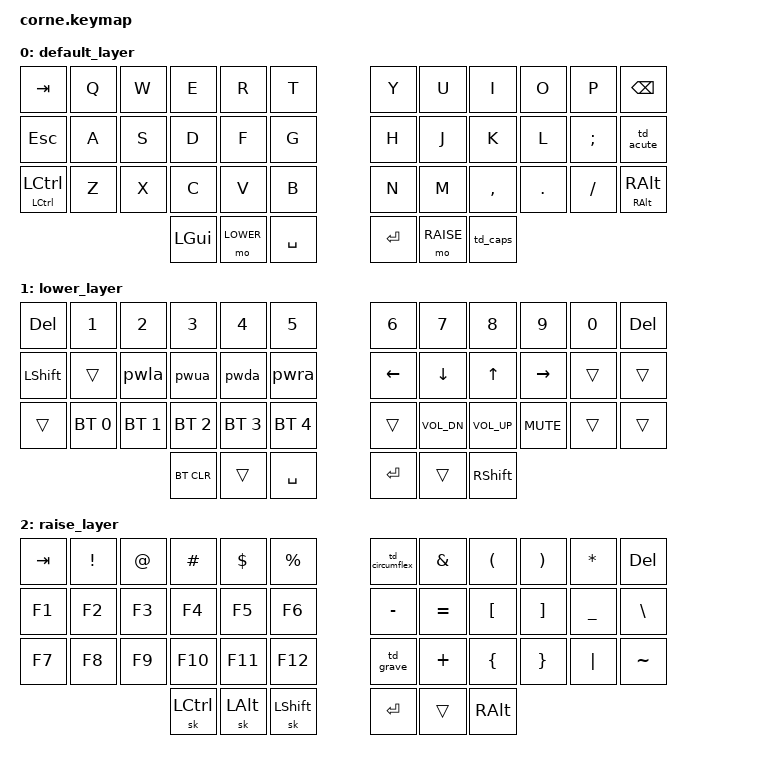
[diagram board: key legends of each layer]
/*
 * Copyright (c) 2020 The ZMK Contributors
 *
 * SPDX-License-Identifier: MIT
 */



#include <behaviors.dtsi>
#include <dt-bindings/zmk/keys.h>
#include <dt-bindings/zmk/bt.h>

#define DEFAULT 0
#define LOWER 1
#define RAISE 2


/ {
    behaviors {
      skq: sticky_key_quick_release {
        compatible = "zmk,behavior-sticky-key";
        label = "STICKY_KEY_QUICK_RELEASE";
        #binding-cells = <1>;
        bindings = <&kp>;
        release-after-ms = <1000>;
        quick-release;
        ignore-modifiers;
        // lazy;
      };
        skh: normal_sticky_hold_tap {
            compatible = "zmk,behavior-hold-tap";
            #binding-cells = <2>; // Not sure its needed
            label = "STICKY_HOLD";
            tapping-term-ms = <225>;
            flavor = "tap-preferred";
            bindings = <&kp>, <&skq>; 
            hold-while-undecided-linger;
        };

     td_caps: tap_dance_mod_tap {
        compatible = "zmk,behavior-tap-dance";
        label = "TAP_DANCE_CAPS";
        #binding-cells = <0>;
        tapping-term-ms = <275>;
        bindings = <&kp LSHIFT>, <&kp CAPS>;
        };

        // Single tap: '   Double tap: dead acute (é, á, ú...)
        td_acute: tap_dance_acute {
            compatible = "zmk,behavior-tap-dance";
            label = "TAP_DANCE_ACUTE";
            #binding-cells = <0>;
            tapping-term-ms = <200>;
            bindings = <&kp SQT>, <&kp RA(SQT)>;
        };

        // Single tap: `   Double tap: dead grave (è, à, ù...)
        td_grave: tap_dance_grave {
            compatible = "zmk,behavior-tap-dance";
            label = "TAP_DANCE_GRAVE";
            #binding-cells = <0>;
            tapping-term-ms = <200>;
            bindings = <&kp GRAVE>, <&kp RA(GRAVE)>;
        };

        // Single tap: ^   Double tap: dead circumflex (ê, â, î...)
        td_circumflex: tap_dance_circumflex {
            compatible = "zmk,behavior-tap-dance";
            label = "TAP_DANCE_CIRCUMFLEX";
            #binding-cells = <0>;
            tapping-term-ms = <200>;
            bindings = <&kp CARET>, <&kp RA(N6)>;
        };

        pwda: pop_os_workspace_down {
            compatible = "zmk,behavior-mod-morph";
            label = "POP_OS_WORKSPACE_DOWN";
            #binding-cells = <0>;
            bindings = <&kp LC(LG(DOWN))>, <&kp LS(LG(DOWN))>;
            mods = <(MOD_RSFT|MOD_LSFT)>;
        };

        pwua: pop_os_workspace_up {
            compatible = "zmk,behavior-mod-morph";
            label = "POP_OS_WORKSPACE_UP";
            #binding-cells = <0>;
            bindings = <&kp LC(LG(UP))>, <&kp LS(LG(UP))>;
            mods = <(MOD_RSFT|MOD_LSFT)>;
        };

        pwla: pop_os_workspace_left {
            compatible = "zmk,behavior-mod-morph";
            label = "POP_OS_WORKSPACE_LEFT";
            #binding-cells = <0>;
            bindings = <&kp LC(LG(LEFT))>, <&kp LS(LG(LEFT))>;
            mods = <(MOD_RSFT|MOD_LSFT)>;
        };

        pwra: pop_os_workspace_right {
            compatible = "zmk,behavior-mod-morph";
            label = "POP_OS_WORKSPACE_RIGHT";
            #binding-cells = <0>;
            bindings = <&kp LC(LG(RIGHT))>, <&kp LS(LG(RIGHT))>;
            mods = <(MOD_RSFT|MOD_LSFT)>;
        };

};



        keymap {
                compatible = "zmk,keymap";

                default_layer {
// -----------------------------------------------------------------------------------------
// |  TAB |  Q  |  W  |  E  |  R  |  T  |   |  Y  |  U  |  I  |  O  |  P  | BKSP |
// |  ESC |  A  |  S  |  D  |  F  |  G  |   |  H  |  J  |  K  |  L  |  ;  | '/´ |
// | CTRL |  Z  |  X  |  C  |  V  |  B  |   |  N  |  M  |  ,  |  .  |  /  | RALT |
//                    | GUI | LWR | SPC |   | ENT | RSE | SHFT/CAPS |
                        bindings = <
   &kp TAB   &kp Q &kp W &kp E &kp R &kp T   &kp Y &kp U  &kp I     &kp O   &kp P    &kp BSPC
   &kp ESC &kp A &kp S &kp D &kp F &kp G   &kp H &kp J  &kp K     &kp L   &kp SEMI &td_acute
   &skh LCTRL LCTRL &kp Z &kp X &kp C &kp V &kp B   &kp N &kp M  &kp COMMA &kp DOT &kp FSLH &skh RALT RALT
                  &kp LGUI &mo LOWER &kp SPACE   &kp RET &mo RAISE &td_caps
                        >;
                };


               lower_layer {
// -----------------------------------------------------------------------------------------
// |  DEL |  1  |  2  |  3  |  4  |  5  |   |  6  |  7  |  8  |  9  |  0  |  DEL |
// | SHFT |     | WS← | WS↑ | WS↓ | WS→ |   | LFT | DWN |  UP | RGT |     |      |
// |      | BT0 | BT1 | BT2 | BT3 | BT4 |   |     | V-  | V+  | MUT |     |      |
//                    |BTCLR|     | SPC |   | ENT |     | SHFT |
                        bindings = <
   &kp DEL    &kp N1       &kp N2       &kp N3       &kp N4       &kp N5         &kp N6   &kp N7   &kp N8 &kp N9    &kp N0 &kp DEL
   &kp LSHIFT &trans &pwla &pwua &pwda &pwra   &kp LEFT &kp DOWN &kp UP &kp RIGHT &trans &trans
   &trans  &bt BT_SEL 0  &bt BT_SEL 1   &bt BT_SEL 2  &bt BT_SEL 3   &bt BT_SEL 4         &trans   &kp C_VOL_DN   &kp C_VOL_UP &kp C_MUTE    &trans &trans
                          	        &bt BT_CLR     &trans       &kp SPACE      &kp RET  &trans   &kp RSHIFT
                        >;
                };

                raise_layer {
// -----------------------------------------------------------------------------------------
// |  TAB |  !  |  @  |  #  |  $  |  %  |   | ^/ê |  &  |  (  |  )  |  *  |  DEL |
// |  F1  |  F2 |  F3 |  F4 |  F5 |  F6 |   |  -  |  =  |  [  |  ]  |  _  |  \   |
// |  F7  |  F8 |  F9 | F10 | F11 | F12 |   | `/è |  +  |  {  |  }  |  |  |  ~   |
//                    | CTRL| ALT | SHFT|   | ENT |     | RALT |
                        bindings = <
   &kp TAB  &kp EXCL &kp AT &kp HASH &kp DLLR &kp PRCNT   &td_circumflex &kp AMPS  &kp LPAR &kp RPAR &kp STAR &kp DEL
   &kp F1  &kp F2  &kp F3 &kp F4   &kp F5  &kp F6      &kp MINUS &kp EQUAL &kp LBKT        &kp RBKT &kp UNDER &kp BSLH
   &kp F7 &kp F8   &kp F9 &kp F10  &kp F11  &kp F12      &td_grave &kp PLUS  &kp LBRC        &kp RBRC &kp PIPE &kp TILDE
                    	     &sk LCTRL &sk LALT   &sk LSHIFT   &kp RET   &trans    &kp RALT
                        >;

                };

        };
};

